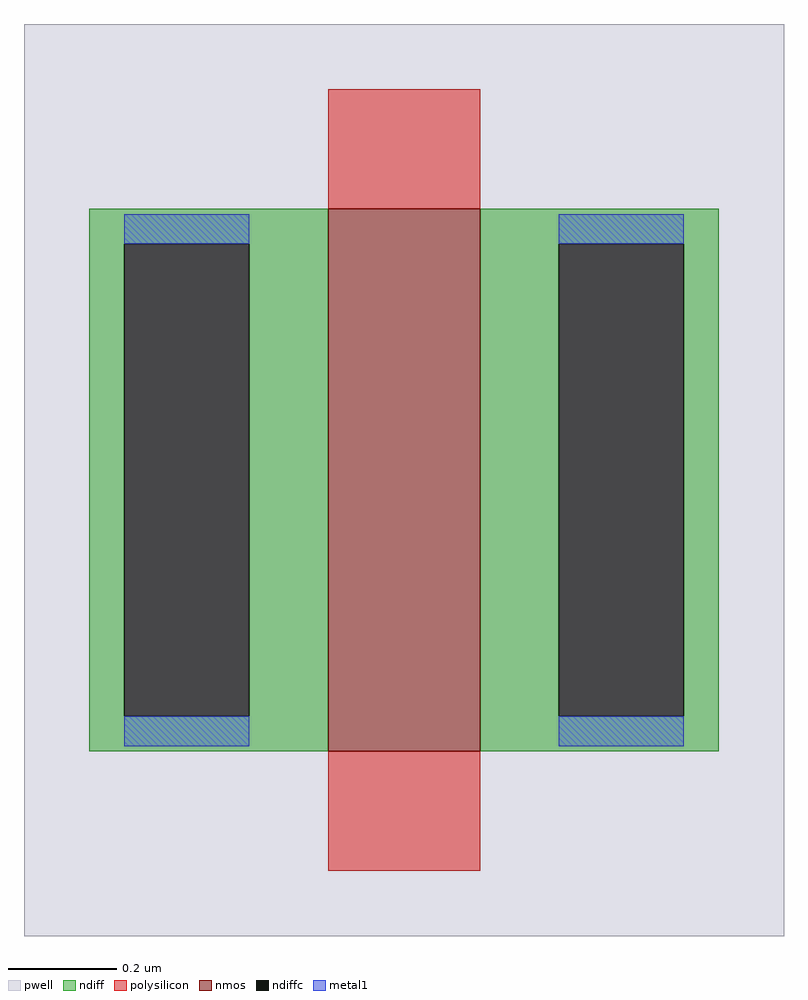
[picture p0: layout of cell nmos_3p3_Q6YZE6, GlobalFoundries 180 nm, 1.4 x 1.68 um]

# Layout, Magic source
magic
tech gf180mcuC
magscale 1 10
<< pwell >>
rect -140 -168 140 168
<< nmos >>
rect -28 -100 28 100
<< ndiff >>
rect -116 87 -28 100
rect -116 -87 -103 87
rect -57 -87 -28 87
rect -116 -100 -28 -87
rect 28 87 116 100
rect 28 -87 57 87
rect 103 -87 116 87
rect 28 -100 116 -87
<< ndiffc >>
rect -103 -87 -57 87
rect 57 -87 103 87
<< polysilicon >>
rect -28 100 28 144
rect -28 -144 28 -100
<< metal1 >>
rect -103 87 -57 98
rect -103 -98 -57 -87
rect 57 87 103 98
rect 57 -98 103 -87
<< properties >>
string gencell nmos_3p3
string library gf180mcu
string parameters w 1 l 0.28 m 1 nf 1 diffcov 100 polycov 100 guard 0 glc 0 grc 0 gtc 0 gbc 0 tbcov 100 rlcov 100 topc 0 botc 0 poverlap 0 doverlap 1 lmin 0.28 wmin 0.22 full_metal 0 compatible {nmos_3p3 nmos_6p0 nmos_6p0_nat}
<< end >>
